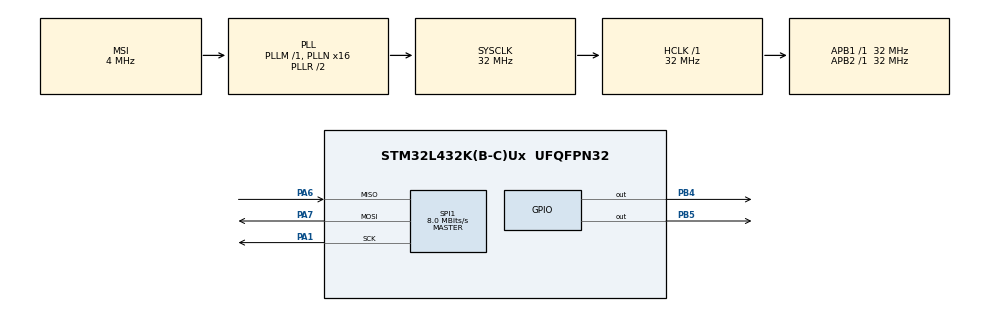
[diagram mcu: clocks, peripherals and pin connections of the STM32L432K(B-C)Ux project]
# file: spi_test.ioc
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Mcu.Family=STM32L4
RCC.MSI_VALUE=4000000
PA6.Mode=Full_Duplex_Master
RCC.CortexFreq_Value=32000000
PA7.Mode=Full_Duplex_Master
SPI1.VirtualType=VM_MASTER
RCC.SYSCLKSource=RCC_SYSCLKSOURCE_PLLCLK
ProjectManager.StackSize=0x400
RCC.HSI16_VALUE=16000000
ProjectManager.TargetToolchain=STM32CubeIDE
SPI1.Direction=SPI_DIRECTION_2LINES
RCC.HCLKFreq_Value=32000000
RCC.APB2TimFreq_Value=32000000
SPI1.CalculateBaudRate=8.0 MBits/s
PA1.Signal=SPI1_SCK
RCC.AHBFreq_Value=32000000
RCC.HSE_VALUE=8000000
board=NUCLEO-L432KC
RCC.VCOOutputFreq_Value=64000000
RCC.PLLMUL=RCC_PLLMUL_4
RCC.APB2Freq_Value=32000000
PA1.Mode=Full_Duplex_Master
SPI1.Mode=SPI_MODE_MASTER
SPI1.DataSize=SPI_DATASIZE_8BIT
Mcu.Name=STM32L432K(B-C)Ux
RCC.SYSCLKFreq_VALUE=32000000
PB5.Signal=GPIO_Output
Mcu.Package=UFQFPN32
PA6.Signal=SPI1_MISO
ProjectManager.HeapSize=0x200
RCC.HSI_VALUE=16000000
NVIC.PriorityGroup=NVIC_PRIORITYGROUP_4
RCC.PLLN=16
RCC.APB1TimFreq_Value=32000000
RCC.APB1Freq_Value=32000000
SPI1.BaudRatePrescaler=SPI_BAUDRATEPRESCALER_4
RCC.HSI48_VALUE=48000000
PA7.Signal=SPI1_MOSI
PB4\ (NJTRST).Signal=GPIO_Output

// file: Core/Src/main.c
/* USER CODE BEGIN Header */
/**
  ******************************************************************************
  * @file           : main.c
  * @brief          : Main program body
  ******************************************************************************
  * @attention
  *
  * <h2><center>&copy; Copyright (c) 2021 STMicroelectronics.
  * All rights reserved.</center></h2>
  *
  * This software component is licensed by ST under BSD 3-Clause license,
  * the "License"; You may not use this file except in compliance with the
  * License. You may obtain a copy of the License at:
  *                        opensource.org/licenses/BSD-3-Clause
  *
  ******************************************************************************
  */
/* USER CODE END Header */
#include "main.h"

/* USER CODE BEGIN Includes */
#include "MMA7455.h"
/* USER CODE END Includes */

SPI_HandleTypeDef hspi1;

void SystemClock_Config(void);
static void MX_GPIO_Init(void);
static void MX_SPI1_Init(void);

/* USER CODE BEGIN 0 */
uint8_t tx_buff[]={0};
uint8_t rx_buff[]={0};
int8_t x_axis_8;
int8_t y_axis_8;
int8_t z_axis_8;
int16_t x_axis_10;
int16_t y_axis_10;
int16_t z_axis_10;

float pitch;
float roll;
float yawn;

/* USER CODE END 0 */

int main(void)
{

  /* MCU Configuration--------------------------------------------------------*/

  /* Reset of all peripherals, Initializes the Flash interface and the Systick. */
  HAL_Init();

  /* Configure the system clock */
  SystemClock_Config();

  /* Initialize all configured peripherals */
  MX_GPIO_Init();
  MX_SPI1_Init();
  /* USER CODE BEGIN 2 */
  HAL_GPIO_WritePin(GPIOB, GPIO_PIN_4,  GPIO_PIN_SET);

  MMA7455_Init_8G();
  HAL_Delay(1000);

  /* USER CODE END 2 */

  /* Infinite loop */
  while (1)
  {

    /* USER CODE BEGIN 3 */
	  x_axis_8 = MMA7455_Read_10Bit_X();
	  y_axis_8 = MMA7455_Read_10Bit_Y();
	  z_axis_8 = MMA7455_Read_10Bit_Z();

	  x_axis_10 = MMA7455_Read_10Bit_X();
	  y_axis_10 = MMA7455_Read_10Bit_Y();
	  z_axis_10 = MMA7455_Read_10Bit_Z();

	  pitch = MMA7455_Read_Pitch();
	  roll = MMA7455_Read_Roll();

	  HAL_GPIO_TogglePin (GPIOB, GPIO_PIN_5);
	  HAL_Delay(10);

  }
  /* USER CODE END 3 */
}

void SystemClock_Config(void)
{
  RCC_OscInitTypeDef RCC_OscInitStruct = {0};
  RCC_ClkInitTypeDef RCC_ClkInitStruct = {0};

  /** Initializes the RCC Oscillators according to the specified parameters
  * in the RCC_OscInitTypeDef structure.
  */
  RCC_OscInitStruct.OscillatorType = RCC_OSCILLATORTYPE_MSI;
  RCC_OscInitStruct.MSIState = RCC_MSI_ON;
  RCC_OscInitStruct.MSICalibrationValue = 0;
  RCC_OscInitStruct.MSIClockRange = RCC_MSIRANGE_6;
  RCC_OscInitStruct.PLL.PLLState = RCC_PLL_ON;
  RCC_OscInitStruct.PLL.PLLSource = RCC_PLLSOURCE_MSI;
  RCC_OscInitStruct.PLL.PLLM = 1;
  RCC_OscInitStruct.PLL.PLLN = 16;
  RCC_OscInitStruct.PLL.PLLP = RCC_PLLP_DIV7;
  RCC_OscInitStruct.PLL.PLLQ = RCC_PLLQ_DIV2;
  RCC_OscInitStruct.PLL.PLLR = RCC_PLLR_DIV2;
  if (HAL_RCC_OscConfig(&RCC_OscInitStruct) != HAL_OK)
  {
    Error_Handler();
  }
  /** Initializes the CPU, AHB and APB buses clocks
  */
  RCC_ClkInitStruct.ClockType = RCC_CLOCKTYPE_HCLK|RCC_CLOCKTYPE_SYSCLK
                              |RCC_CLOCKTYPE_PCLK1|RCC_CLOCKTYPE_PCLK2;
  RCC_ClkInitStruct.SYSCLKSource = RCC_SYSCLKSOURCE_PLLCLK;
  RCC_ClkInitStruct.AHBCLKDivider = RCC_SYSCLK_DIV1;
  RCC_ClkInitStruct.APB1CLKDivider = RCC_HCLK_DIV1;
  RCC_ClkInitStruct.APB2CLKDivider = RCC_HCLK_DIV1;

  if (HAL_RCC_ClockConfig(&RCC_ClkInitStruct, FLASH_LATENCY_1) != HAL_OK)
  {
    Error_Handler();
  }
  /** Configure the main internal regulator output voltage
  */
  if (HAL_PWREx_ControlVoltageScaling(PWR_REGULATOR_VOLTAGE_SCALE1) != HAL_OK)
  {
    Error_Handler();
  }
}

static void MX_SPI1_Init(void)
{

  /* SPI1 parameter configuration*/
  hspi1.Instance = SPI1;
  hspi1.Init.Mode = SPI_MODE_MASTER;
  hspi1.Init.Direction = SPI_DIRECTION_2LINES;
  hspi1.Init.DataSize = SPI_DATASIZE_8BIT;
  hspi1.Init.CLKPolarity = SPI_POLARITY_LOW;
  hspi1.Init.CLKPhase = SPI_PHASE_1EDGE;
  hspi1.Init.NSS = SPI_NSS_SOFT;
  hspi1.Init.BaudRatePrescaler = SPI_BAUDRATEPRESCALER_4;
  hspi1.Init.FirstBit = SPI_FIRSTBIT_MSB;
  hspi1.Init.TIMode = SPI_TIMODE_DISABLE;
  hspi1.Init.CRCCalculation = SPI_CRCCALCULATION_DISABLE;
  hspi1.Init.CRCPolynomial = 7;
  hspi1.Init.CRCLength = SPI_CRC_LENGTH_DATASIZE;
  hspi1.Init.NSSPMode = SPI_NSS_PULSE_ENABLE;
  if (HAL_SPI_Init(&hspi1) != HAL_OK)
  {
    Error_Handler();
  }

}

static void MX_GPIO_Init(void)
{
  GPIO_InitTypeDef GPIO_InitStruct = {0};

  /* GPIO Ports Clock Enable */
  __HAL_RCC_GPIOA_CLK_ENABLE();
  __HAL_RCC_GPIOB_CLK_ENABLE();

  /*Configure GPIO pin Output Level */
  HAL_GPIO_WritePin(GPIOB, GPIO_PIN_4|GPIO_PIN_5, GPIO_PIN_RESET);

  /*Configure GPIO pins : PB4 PB5 */
  GPIO_InitStruct.Pin = GPIO_PIN_4|GPIO_PIN_5;
  GPIO_InitStruct.Mode = GPIO_MODE_OUTPUT_PP;
  GPIO_InitStruct.Pull = GPIO_NOPULL;
  GPIO_InitStruct.Speed = GPIO_SPEED_FREQ_LOW;
  HAL_GPIO_Init(GPIOB, &GPIO_InitStruct);

}

void Error_Handler(void)
{
  __disable_irq();
  while (1)
  {
  }
}

/************************ (C) COPYRIGHT STMicroelectronics *****END OF FILE****/
